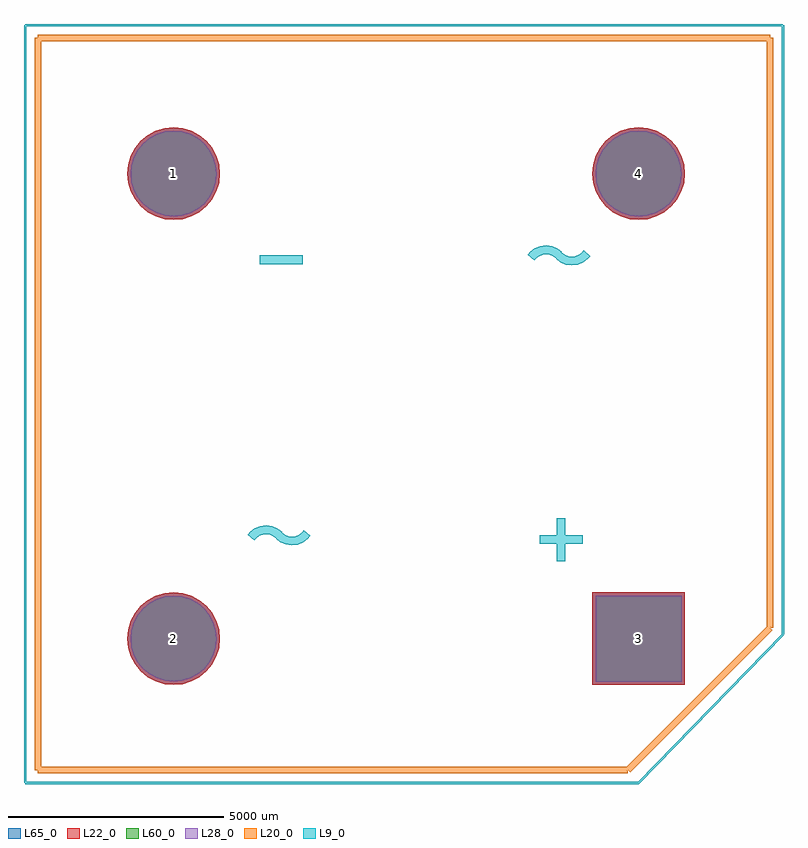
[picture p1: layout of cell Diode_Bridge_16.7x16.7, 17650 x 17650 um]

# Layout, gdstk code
import gdstk
lib = gdstk.Library(unit=1e-6, precision=1e-09)
def R(c, l, rs):  # rectangles x0, y0, x1, y1
    for r in rs: c.add(gdstk.rectangle(r[:2], r[2:], *l))
def P(c, l, *ps):  # polygons
    for p in ps: c.add(gdstk.Polygon(p, *l))
L9_0 = (9, 0)
L20_0 = (20, 0)
L22_0 = (22, 0)
L28_0 = (28, 0)
L60_0 = (60, 0)
L65_0 = (65, 0)

diode_bridge_16_7x16_7 = lib.new_cell('Diode_Bridge_16.7x16.7')
R(diode_bridge_16_7x16_7, L22_0, [(9725,-11875,11875,-9725)])
P(diode_bridge_16_7x16_7, L22_0, [(11875,0),(11854.344,209.722),(11793.17,411.385),(11693.83,597.238),(11560.14,760.14),(11397.238,893.83),(11211.385,993.17),(11009.722,1054.344),(10800,1075),(10590.278,1054.344),(10388.615,993.17),(10202.762,893.83),(10039.86,760.14),(9906.17,597.238),(9806.83,411.385),(9745.656,209.722),(9725,0),(9745.656,-209.722),(9806.83,-411.385),(9906.17,-597.238),(10039.86,-760.14),(10202.762,-893.83),(10388.615,-993.17),(10590.278,-1054.344),(10800,-1075),(11009.722,-1054.344),(11211.385,-993.17),(11397.238,-893.83),(11560.14,-760.14),(11693.83,-597.238),(11793.17,-411.385),(11854.344,-209.722)],
  [(1075,-10800),(1054.344,-10590.278),(993.17,-10388.615),(893.83,-10202.762),(760.14,-10039.86),(597.238,-9906.17),(411.385,-9806.83),(209.722,-9745.656),(0,-9725),(-209.722,-9745.656),(-411.385,-9806.83),(-597.238,-9906.17),(-760.14,-10039.86),(-893.83,-10202.762),(-993.17,-10388.615),(-1054.344,-10590.278),(-1075,-10800),(-1054.344,-11009.722),(-993.17,-11211.385),(-893.83,-11397.238),(-760.14,-11560.14),(-597.238,-11693.83),(-411.385,-11793.17),(-209.722,-11854.344),(0,-11875),(209.722,-11854.344),(411.385,-11793.17),(597.238,-11693.83),(760.14,-11560.14),(893.83,-11397.238),(993.17,-11211.385),(1054.344,-11009.722)],
  [(1075,0),(1054.344,209.722),(993.17,411.385),(893.83,597.238),(760.14,760.14),(597.238,893.83),(411.385,993.17),(209.722,1054.344),(0,1075),(-209.722,1054.344),(-411.385,993.17),(-597.238,893.83),(-760.14,760.14),(-893.83,597.238),(-993.17,411.385),(-1054.344,209.722),(-1075,0),(-1054.344,-209.722),(-993.17,-411.385),(-893.83,-597.238),(-760.14,-760.14),(-597.238,-893.83),(-411.385,-993.17),(-209.722,-1054.344),(0,-1075),(209.722,-1054.344),(411.385,-993.17),(597.238,-893.83),(760.14,-760.14),(893.83,-597.238),(993.17,-411.385),(1054.344,-209.722)])
R(diode_bridge_16_7x16_7, L28_0, [(9800,-11800,11800,-9800)])
P(diode_bridge_16_7x16_7, L28_0, [(11800,0),(11780.785,195.09),(11723.88,382.683),(11631.47,555.57),(11507.107,707.107),(11355.57,831.47),(11182.683,923.88),(10995.09,980.785),(10800,1000),(10604.91,980.785),(10417.317,923.88),(10244.43,831.47),(10092.893,707.107),(9968.53,555.57),(9876.12,382.683),(9819.215,195.09),(9800,0),(9819.215,-195.09),(9876.12,-382.683),(9968.53,-555.57),(10092.893,-707.107),(10244.43,-831.47),(10417.317,-923.88),(10604.91,-980.785),(10800,-1000),(10995.09,-980.785),(11182.683,-923.88),(11355.57,-831.47),(11507.107,-707.107),(11631.47,-555.57),(11723.88,-382.683),(11780.785,-195.09)],
  [(1000,-10800),(980.785,-10604.91),(923.88,-10417.317),(831.47,-10244.43),(707.107,-10092.893),(555.57,-9968.53),(382.683,-9876.12),(195.09,-9819.215),(0,-9800),(-195.09,-9819.215),(-382.683,-9876.12),(-555.57,-9968.53),(-707.107,-10092.893),(-831.47,-10244.43),(-923.88,-10417.317),(-980.785,-10604.91),(-1000,-10800),(-980.785,-10995.09),(-923.88,-11182.683),(-831.47,-11355.57),(-707.107,-11507.107),(-555.57,-11631.47),(-382.683,-11723.88),(-195.09,-11780.785),(0,-11800),(195.09,-11780.785),(382.683,-11723.88),(555.57,-11631.47),(707.107,-11507.107),(831.47,-11355.57),(923.88,-11182.683),(980.785,-10995.09)],
  [(1000,0),(980.785,195.09),(923.88,382.683),(831.47,555.57),(707.107,707.107),(555.57,831.47),(382.683,923.88),(195.09,980.785),(0,1000),(-195.09,980.785),(-382.683,923.88),(-555.57,831.47),(-707.107,707.107),(-831.47,555.57),(-923.88,382.683),(-980.785,195.09),(-1000,0),(-980.785,-195.09),(-923.88,-382.683),(-831.47,-555.57),(-707.107,-707.107),(-555.57,-831.47),(-382.683,-923.88),(-195.09,-980.785),(0,-1000),(195.09,-980.785),(382.683,-923.88),(555.57,-831.47),(707.107,-707.107),(831.47,-555.57),(923.88,-382.683),(980.785,-195.09)])
R(diode_bridge_16_7x16_7, L60_0, [(9800,-11800,11800,-9800)])
P(diode_bridge_16_7x16_7, L60_0, [(11800,0),(11780.785,195.09),(11723.88,382.683),(11631.47,555.57),(11507.107,707.107),(11355.57,831.47),(11182.683,923.88),(10995.09,980.785),(10800,1000),(10604.91,980.785),(10417.317,923.88),(10244.43,831.47),(10092.893,707.107),(9968.53,555.57),(9876.12,382.683),(9819.215,195.09),(9800,0),(9819.215,-195.09),(9876.12,-382.683),(9968.53,-555.57),(10092.893,-707.107),(10244.43,-831.47),(10417.317,-923.88),(10604.91,-980.785),(10800,-1000),(10995.09,-980.785),(11182.683,-923.88),(11355.57,-831.47),(11507.107,-707.107),(11631.47,-555.57),(11723.88,-382.683),(11780.785,-195.09)],
  [(1000,-10800),(980.785,-10604.91),(923.88,-10417.317),(831.47,-10244.43),(707.107,-10092.893),(555.57,-9968.53),(382.683,-9876.12),(195.09,-9819.215),(0,-9800),(-195.09,-9819.215),(-382.683,-9876.12),(-555.57,-9968.53),(-707.107,-10092.893),(-831.47,-10244.43),(-923.88,-10417.317),(-980.785,-10604.91),(-1000,-10800),(-980.785,-10995.09),(-923.88,-11182.683),(-831.47,-11355.57),(-707.107,-11507.107),(-555.57,-11631.47),(-382.683,-11723.88),(-195.09,-11780.785),(0,-11800),(195.09,-11780.785),(382.683,-11723.88),(555.57,-11631.47),(707.107,-11507.107),(831.47,-11355.57),(923.88,-11182.683),(980.785,-10995.09)],
  [(1000,0),(980.785,195.09),(923.88,382.683),(831.47,555.57),(707.107,707.107),(555.57,831.47),(382.683,923.88),(195.09,980.785),(0,1000),(-195.09,980.785),(-382.683,923.88),(-555.57,831.47),(-707.107,707.107),(-831.47,555.57),(-923.88,382.683),(-980.785,195.09),(-1000,0),(-980.785,-195.09),(-923.88,-382.683),(-831.47,-555.57),(-707.107,-707.107),(-555.57,-831.47),(-382.683,-923.88),(-195.09,-980.785),(0,-1000),(195.09,-980.785),(382.683,-923.88),(555.57,-831.47),(707.107,-707.107),(831.47,-555.57),(923.88,-382.683),(980.785,-195.09)])
R(diode_bridge_16_7x16_7, L65_0, [(9725,-11875,11875,-9725)])
P(diode_bridge_16_7x16_7, L65_0, [(11875,0),(11854.344,209.722),(11793.17,411.385),(11693.83,597.238),(11560.14,760.14),(11397.238,893.83),(11211.385,993.17),(11009.722,1054.344),(10800,1075),(10590.278,1054.344),(10388.615,993.17),(10202.762,893.83),(10039.86,760.14),(9906.17,597.238),(9806.83,411.385),(9745.656,209.722),(9725,0),(9745.656,-209.722),(9806.83,-411.385),(9906.17,-597.238),(10039.86,-760.14),(10202.762,-893.83),(10388.615,-993.17),(10590.278,-1054.344),(10800,-1075),(11009.722,-1054.344),(11211.385,-993.17),(11397.238,-893.83),(11560.14,-760.14),(11693.83,-597.238),(11793.17,-411.385),(11854.344,-209.722)],
  [(1075,-10800),(1054.344,-10590.278),(993.17,-10388.615),(893.83,-10202.762),(760.14,-10039.86),(597.238,-9906.17),(411.385,-9806.83),(209.722,-9745.656),(0,-9725),(-209.722,-9745.656),(-411.385,-9806.83),(-597.238,-9906.17),(-760.14,-10039.86),(-893.83,-10202.762),(-993.17,-10388.615),(-1054.344,-10590.278),(-1075,-10800),(-1054.344,-11009.722),(-993.17,-11211.385),(-893.83,-11397.238),(-760.14,-11560.14),(-597.238,-11693.83),(-411.385,-11793.17),(-209.722,-11854.344),(0,-11875),(209.722,-11854.344),(411.385,-11793.17),(597.238,-11693.83),(760.14,-11560.14),(893.83,-11397.238),(993.17,-11211.385),(1054.344,-11009.722)],
  [(1075,0),(1054.344,209.722),(993.17,411.385),(893.83,597.238),(760.14,760.14),(597.238,893.83),(411.385,993.17),(209.722,1054.344),(0,1075),(-209.722,1054.344),(-411.385,993.17),(-597.238,893.83),(-760.14,760.14),(-893.83,597.238),(-993.17,411.385),(-1054.344,209.722),(-1075,0),(-1054.344,-209.722),(-993.17,-411.385),(-893.83,-597.238),(-760.14,-760.14),(-597.238,-893.83),(-411.385,-993.17),(-209.722,-1054.344),(0,-1075),(209.722,-1054.344),(411.385,-993.17),(597.238,-893.83),(760.14,-760.14),(893.83,-597.238),(993.17,-411.385),(1054.344,-209.722)])
diode_bridge_16_7x16_7.add(gdstk.FlexPath([(-3150,-13850),(-3150,3150)], 149.998, ends="flush", simple_path=True, layer=20, datatype=0))  # L20_0
diode_bridge_16_7x16_7.add(gdstk.FlexPath([(-3150,3150),(13850,3150)], 149.998, ends="flush", simple_path=True, layer=20, datatype=0))  # L20_0
diode_bridge_16_7x16_7.add(gdstk.FlexPath([(10550,-13850),(-3150,-13850)], 149.998, ends="flush", simple_path=True, layer=20, datatype=0))  # L20_0
diode_bridge_16_7x16_7.add(gdstk.FlexPath([(13850,-10550),(10550,-13850)], 149.998, ends="flush", simple_path=True, layer=20, datatype=0))  # L20_0
diode_bridge_16_7x16_7.add(gdstk.FlexPath([(13850,3150),(13850,-10550)], 149.998, ends="flush", simple_path=True, layer=20, datatype=0))  # L20_0
diode_bridge_16_7x16_7.add(gdstk.FlexPath([(14150,3450),(14150,-10700)], 50, ends="flush", simple_path=True, layer=9, datatype=0))  # L9_0
diode_bridge_16_7x16_7.add(gdstk.FlexPath([(-3450,3450),(14150,3450)], 50, ends="flush", simple_path=True, layer=9, datatype=0))  # L9_0
diode_bridge_16_7x16_7.add(gdstk.FlexPath([(-3450,-14150),(-3450,3450)], 50, ends="flush", simple_path=True, layer=9, datatype=0))  # L9_0
diode_bridge_16_7x16_7.add(gdstk.FlexPath([(10800,-14150),(-3450,-14150)], 50, ends="flush", simple_path=True, layer=9, datatype=0))  # L9_0
diode_bridge_16_7x16_7.add(gdstk.FlexPath([(14150,-10700),(10800,-14150)], 50, ends="flush", simple_path=True, layer=9, datatype=0))  # L9_0
diode_bridge_16_7x16_7.add(gdstk.FlexPath([(2000,-2000),(3000,-2000)], 200, ends="flush", simple_path=True, layer=9, datatype=0))  # L9_0
diode_bridge_16_7x16_7.add(gdstk.FlexPath([(9000,-8000),(9000,-9000)], 200, ends="flush", simple_path=True, layer=9, datatype=0))  # L9_0
diode_bridge_16_7x16_7.add(gdstk.FlexPath([(8500,-8500),(9500,-8500)], 200, ends="flush", simple_path=True, layer=9, datatype=0))  # L9_0
diode_bridge_16_7x16_7.add(gdstk.FlexPath([(2456.978,-8398.73),(2368.544,-8329.544),(2265.216,-8285.603),(2154.036,-8269.903),(2042.581,-8283.514),(1938.447,-8325.507),(1848.729,-8393.021),(1800,-8450)], 200, ends="flush", simple_path=True, layer=9, datatype=0))  # L9_0
diode_bridge_16_7x16_7.add(gdstk.FlexPath([(2443.022,-8401.27),(2531.456,-8470.456),(2634.784,-8514.397),(2745.964,-8530.097),(2857.419,-8516.486),(2961.553,-8474.493),(3051.271,-8406.979),(3100,-8350)], 200, ends="flush", simple_path=True, layer=9, datatype=0))  # L9_0
diode_bridge_16_7x16_7.add(gdstk.FlexPath([(8943.022,-1901.27),(9031.456,-1970.456),(9134.784,-2014.397),(9245.964,-2030.097),(9357.419,-2016.486),(9461.553,-1974.493),(9551.271,-1906.979),(9600,-1850)], 200, ends="flush", simple_path=True, layer=9, datatype=0))  # L9_0
diode_bridge_16_7x16_7.add(gdstk.FlexPath([(8956.978,-1898.73),(8868.544,-1829.544),(8765.216,-1785.603),(8654.036,-1769.903),(8542.581,-1783.514),(8438.447,-1825.507),(8348.729,-1893.021),(8300,-1950)], 200, ends="flush", simple_path=True, layer=9, datatype=0))  # L9_0
diode_bridge_16_7x16_7.add(gdstk.Label('4', (10800,0), layer=28, texttype=0))
diode_bridge_16_7x16_7.add(gdstk.Label('3', (10800,-10800), layer=28, texttype=0))
diode_bridge_16_7x16_7.add(gdstk.Label('2', (0,-10800), layer=28, texttype=0))
diode_bridge_16_7x16_7.add(gdstk.Label('1', (0,0), layer=28, texttype=0))
diode_bridge_16_7x16_7.add(gdstk.Label('type', (5350,-14950), layer=9, texttype=0))
diode_bridge_16_7x16_7.add(gdstk.Label('devicename', (-1150,4050), layer=9, texttype=0))

lib.write_gds('Diode_Bridge_16.7x16.7.gds')
